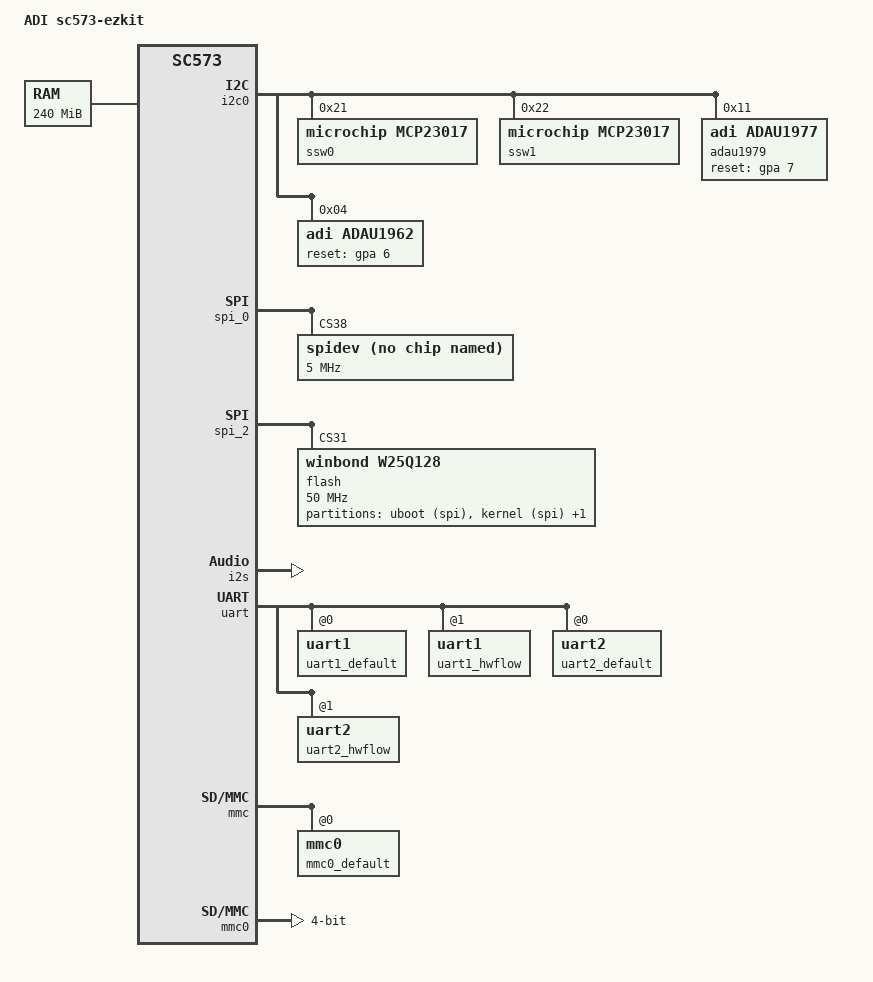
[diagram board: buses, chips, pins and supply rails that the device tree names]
/*
 * Device tree for ADI sc573-ezkit board
 *
 * Copyright 2014 Analog Devices Inc.
 *
 * Licensed under the GPL-2 or later.
 *
 */

/dts-v1/;

/include/ "sc57x.dtsi"

/ {
	model = "ADI sc573-ezkit";
	compatible = "adi,sc573-ezkit", "adi,sc57x";

	aliases {
		/* serial2 = &uart2; */
	};

	memory@80000000 {
		device_type = "memory";
		reg = <0x80000000 0xF000000>;
	};

	scb {
		/* uart2: uart@0x31003800 {
			compatible = "arm,adi-uart4";
			reg = <0x31003800 0x40>;
			dma-channel = <37>, <38>;
			pinctrl-names = "default", "hwflow";
			pinctrl-0 = <&uart2_default>;
			pinctrl-1 = <&uart2_hwflow>;
			interrupt-parent = <&gic>;
			interrupts = <0 112 0>,
			             <0 113 0>,
			             <0 114 0>;
		}; */

		i2c0: twi@0x31001400 {
			#address-cells = <1>;
			#size-cells = <0>;
			compatible = "adi,twi";
			reg = <0x31001400 0xFF>;
			interrupts = <0 115 0>;
			clock-khz = <100>;
			ssw0: gpio@0x21 {
				compatible = "microchip,mcp23017";
				gpio-controller;
				#gpio-cells = <2>;
				reg = <0x21>;
			};
			ssw1: gpio@0x22 {
				compatible = "microchip,mcp23017";
				gpio-controller;
				#gpio-cells = <2>;
				reg = <0x22>;
			};
			adau1979: adau1979@0x11 {
				compatible = "adi,adau1977";
				reg = <0x11>;
				reset-gpio = <&gpa 7 0>;
			};
			adau1962: adau1962@0x4 {
				compatible = "adi,adau1962";
				reg = <0x4>;
				reset-gpio = <&gpa 6 0>;
			};
		};

		spi_0: spi@0x3102E000 {
			#address-cells = <1>;
			#size-cells = <0>;
			compatible = "adi,spi3";
			reg = <0x3102E000 0xFF>;
			interrupts = <0 101 0>;
			num-cs = <128>;
			dma-channel = <22>, <23>;
			pinctrl-names = "default";
			pinctrl-0 = <&spi0_default>;

			spidev {
				#address-cells = <1>;
				size-cells = <1>;
				compatible = "rohm,dh2228fv";
				spi-max-frequency = <5000000>;
				reg = <38>;
			};
		};

		spi_2: spi@0x31044000 {
			#address-cells = <1>;
			#size-cells = <0>;
			compatible = "adi,spi3";
			reg = <0x31044000 0xFF>;
			interrupts = <0 71 0>;
			num-cs = <128>;
			dma-channel = <26>, <27>;
			pinctrl-names = "default";
			pinctrl-0 = <&spi2_quad>;

			flash: w25q128@0 {
				#address-cells = <1>;
				#size-cells = <1>;
				compatible = "winbond,w25q128";
				spi-max-frequency = <50000000>;
				reg = <31>;
				spi-cpol;
				spi-cpha;
				spi-tx-bus-width = <4>;
				spi-rx-bus-width = <4>;
				dma-mode;
				partition@0 {
					label = "uboot (spi)";
					reg = <0x0 0x80000>;
				};
				partition@1 {
					label = "kernel (spi)";
					reg = <0x80000 0x580000>;
				};
				partition@2 {
					label = "root file system (spi)";
					reg = <0x600000 0xa00000>;
				};
			};
		};

		video_encoder: disp {
			compatible = "adi,disp";
			card-name = "SC57X";
			type = <2>;
			dma-channel = <28>;
			interrupts = <0 83 0>;
			reg = <0x3102D000 0xfff>;
			spu_securep_id = <68>;
			i2c_bus_id = <0>;
			pinctrl-names = "8bit", "16bit";
			pinctrl-0 = <&ppi0_8b>;
			pinctrl-1 = <&ppi0_16b>;
		};

		video_decoder: cap {
			compatible = "adi,cap";
			card-name = "SC57X";
			type = <2>;
			dma-channel = <28>;
			interrupts = <0 83 0>;
			reg = <0x3102D000 0xfff>;
			spu_securep_id = <68>;
			i2c_bus_id = <0>;
			pinctrl-names = "8bit", "16bit";
			pinctrl-0 = <&ppi0_8b>;
			pinctrl-1 = <&ppi0_16b>;
		};

		lp0: linkport@0 {
			compatible = "linkport0";
			interrupt-parent = <&gic>;
			interrupts = <0 77 0>,
				     <0 78 0>;
			clock-div = <2>;
			pinctrl-names = "default";
			pinctrl-0 = <&lp0_default>;
		};

		lp1: linkport@1 {
			compatible = "linkport1";
			interrupt-parent = <&gic>;
			interrupts = <0 79 0>,
				     <0 80 0>;
			clock-div = <2>;
			pinctrl-names = "default";
			pinctrl-0 = <&lp1_default>;
		};

		i2s: i2s@0 {
			compatible = "sc5xx,i2s-dai";
			reg = <0x31002000 0x80>, <0x31002080 0x80>;
			interrupts = <0 61 0>, <0 63 0>;/* SPORT0 */
			dma-channel = <0>, <1>;
		};

		sound {
			compatible = "sc5xx,asoc-card";
			adi,cpu-dai = <&i2s>;
			adi,codec = <&adau1962>, <&adau1979>;
		};

		rotary@0x3100B000 {
			#address-cells = <1>;
			#size-cells = <0>;
			compatible = "adi,rotary";
			reg = <0x3100B000 0xFF>;
			pinctrl-names = "default";
			pinctrl-0 = <&rotary0_default>;
			interrupts = <0 118 0>;
			rotary_rel_code = <0x08>;	/* REL_WHEEL */
			rotary_button_key = <28>;	/* KEY_ENTER */
			debounce = /bits/ 16 <10>;	/* 0..17 */
			debounce_en = /bits/ 16 <1>;
			cnt_mode = /bits/ 16 <0>;	/* CNTMODE_QUADENC */
			boundary_mode = /bits/ 16 <0>;	/* BNDMODE_COMP */
			invert_czm = /bits/ 16 <0>;
			invert_cud = /bits/ 16 <0>;
			invert_cdg = /bits/ 16 <0>;
		};

		pinctrl@0 {
			uart {
				uart1_default: uart1@0 {
					adi,group = "uart1grp";
					adi,function = "uart1";
				};
				uart1_hwflow: uart1@1 {
					adi,group = "uart1_hwflowgrp";
					adi,function = "uart1";
				};
				uart2_default: uart2@0 {
					adi,group = "uart2grp";
					adi,function = "uart2";
				};
				uart2_hwflow: uart2@1 {
					adi,group = "uart2_hwflowgrp";
					adi,function = "uart2";
				};
			};
			mmc {
				mmc0_default: mmc0@0 {
					adi,group = "mmc0grp";
					adi,function = "mmc0";
				};
			};

			rotary {
				rotary0_default: rotary0@0 {
					adi,group = "rotary0grp";
					adi,function = "rotary0";
				};
			};

			linkport {
				lp0_default: lp0@0 {
					adi,group = "lp0grp";
					adi,function = "lp0";
				};
				lp1_default: lp1@0 {
					adi,group = "lp1grp";
					adi,function = "lp1";
				};
			};
		};

		mmc0: mmc@0x31010000 {
			compatible = "adi,mmc";
			reg = <0x31010000 0xFFF>;
			interrupts = <0 123 0>;
			spu_securep_id = <41>;
			pinctrl-names = "default";
			pinctrl-0 = <&mmc0_default>;
			#address-cells = <1>;
			#size-cells = <0>;
			fifo-depth = <1024>;
			bus-width = <4>;
		};

		icc@0 {
			compatible = "adi,icc";
			reg = <0x20000000 0x1000>;
			interrupt-parent = <&gic>;
			interrupts = <0 206 1>;
			peerinfo = <1 71>, <2 72>;
		};
	};
};
